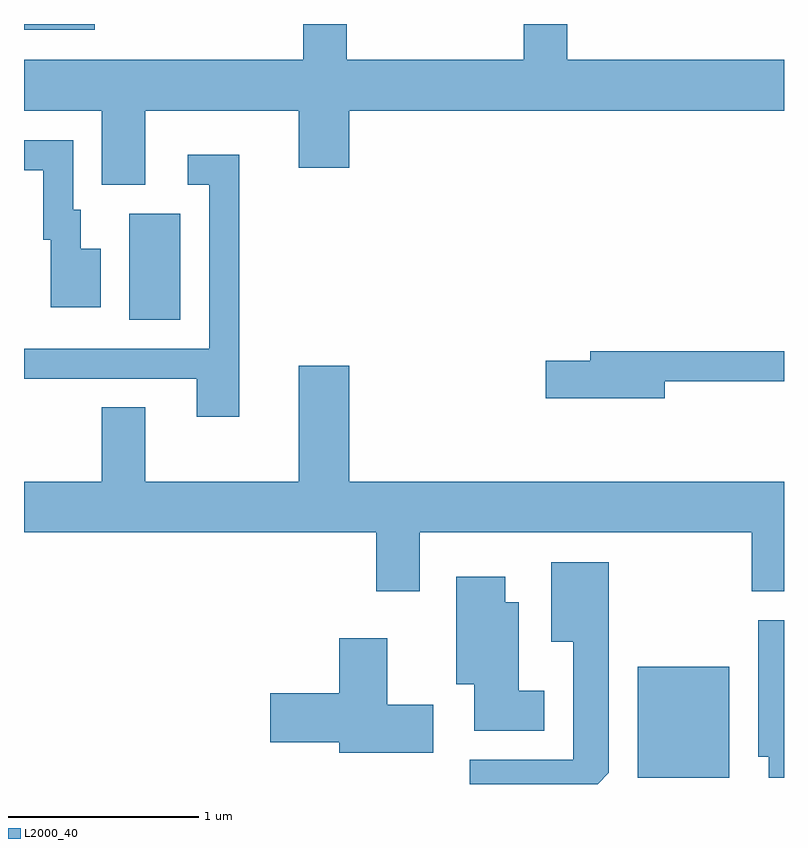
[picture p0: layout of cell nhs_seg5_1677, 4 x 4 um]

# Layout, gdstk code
import gdstk
lib = gdstk.Library(unit=1e-6, precision=1e-09)
def R(c, l, rs):  # rectangles x0, y0, x1, y1
    for r in rs: c.add(gdstk.rectangle(r[:2], r[2:], *l))
def P(c, l, *ps):  # polygons
    for p in ps: c.add(gdstk.Polygon(p, *l))
L2000_40 = (2000, 40)

nhs_seg5_1677 = lib.new_cell('nhs_seg5_1677')
R(nhs_seg5_1677, L2000_40, [(236.841,1522.106,237.324,1522.689), (234.166,1524.516,234.434,1525.074), (233.611,1526.041,233.984,1526.072), (237.486,1526.071,237.611,1526.072)])
P(nhs_seg5_1677, L2000_40, [(234.249,1525.616),(235.056,1525.616),(235.056,1525.316),(235.324,1525.316),(235.324,1525.616),(237.611,1525.616),(237.611,1525.884),(236.469,1525.884),(236.469,1526.072),(236.241,1526.072),(236.241,1525.884),(235.309,1525.884),(235.309,1526.072),(235.081,1526.072),(235.081,1525.884),(233.611,1525.884),(233.611,1525.616),(234.021,1525.616),(234.021,1525.226),(234.249,1525.226)],
  [(234.014,1524.889),(233.909,1524.889),(233.909,1525.094),(233.869,1525.094),(233.869,1525.459),(233.611,1525.459),(233.611,1525.301),(233.711,1525.301),(233.711,1524.936),(233.751,1524.936),(233.751,1524.581),(234.014,1524.581)],
  [(234.744,1525.384),(234.473,1525.384),(234.473,1525.226),(234.586,1525.226),(234.586,1524.364),(233.611,1524.364),(233.611,1524.206),(234.521,1524.206),(234.521,1524.006),(234.744,1524.006)],
  [(236.984,1524.191),(237.611,1524.191),(237.611,1524.349),(236.591,1524.349),(236.591,1524.299),(236.356,1524.299),(236.356,1524.101),(236.984,1524.101)],
  [(235.694,1523.396),(237.441,1523.396),(237.441,1523.086),(237.611,1523.086),(237.611,1523.664),(235.324,1523.664),(235.324,1524.274),(235.056,1524.274),(235.056,1523.664),(234.249,1523.664),(234.249,1524.054),(234.021,1524.054),(234.021,1523.664),(233.611,1523.664),(233.611,1523.396),(235.466,1523.396),(235.466,1523.086),(235.694,1523.086)],
  [(236.689,1522.132),(236.689,1523.239),(236.386,1523.239),(236.386,1522.821),(236.501,1522.821),(236.501,1522.199),(235.956,1522.199),(235.956,1522.072),(236.63,1522.072)],
  [(236.349,1522.564),(236.214,1522.564),(236.214,1523.029),(236.144,1523.029),(236.144,1523.164),(235.886,1523.164),(235.886,1522.596),(235.981,1522.596),(235.981,1522.351),(236.349,1522.351)],
  [(237.611,1522.934),(237.476,1522.934),(237.476,1522.216),(237.531,1522.216),(237.531,1522.106),(237.611,1522.106)],
  [(235.764,1522.489),(235.524,1522.489),(235.524,1522.839),(235.271,1522.839),(235.271,1522.549),(234.906,1522.549),(234.906,1522.291),(235.271,1522.291),(235.271,1522.236),(235.764,1522.236)])

lib.write_gds('nhs_seg5_1677.gds')
